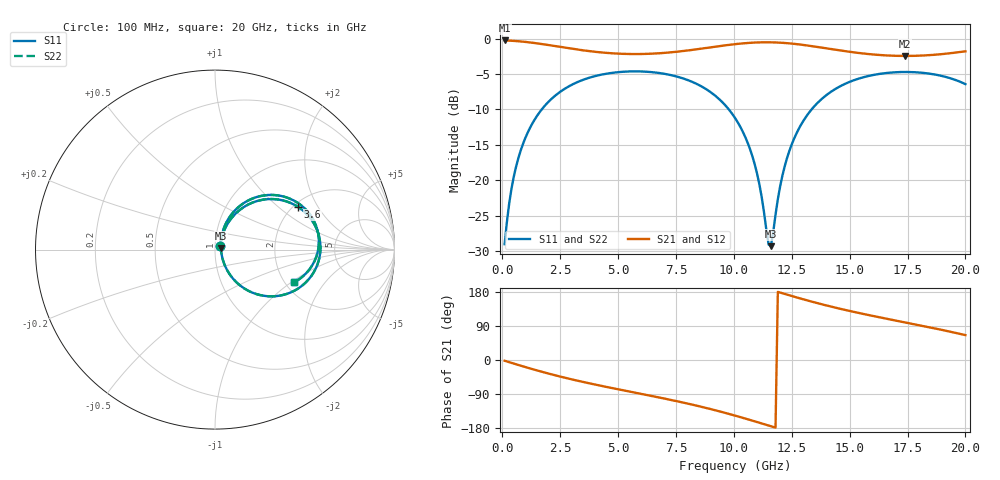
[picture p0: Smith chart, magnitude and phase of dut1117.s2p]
! Touchstone file exported from HFSS 2026.1.0
!  File:  C:/ffzhzh/LocalFiles/Ansys_Project_Files/temp_train_TSV_RDL_1117_1783305646_5512.aedt
!  Generated:  10:53:54 AM Jul  6, 2026
!  Design:  TSV_RDL
!  Project:  temp_train_TSV_RDL_1117_1783305646_5512
! Variables:
!  h_bsmrdl = 5.72um
!  h_ox = 20um
!  h_rdl = 5um
!  h_sub = 93.04um
!  h_tmrdl = 4.31um
!  h_tsv = 93.04um
!  h_via = 3um
!  l_bsmrdl = 485.44um
!  l_sub = 4877.26um
!  l_tmrdl = 736.11um
!  m_sub = 200um
!  pitch = 43.25um
!  r_tsv = 8.34um
!  s_tmrdl = 10um
!  w_bsmrdl = 14.06um
!  w_sub = 500um
!  w_tmrdl = 11.44um
!  x_tsv_center1 = 741.83um
!  x_tsv_center2 = 1241.33um
!  x_tsv_center3 = 1988.88um
!  x_tsv_center4 = 2488.38um
!  x_tsv_center5 = 3235.93um
!  x_tsv_center6 = 3735.43um
# GHz S MA R 50.000000
! Terminal data exported
! Port[1] = TM_RDL1_1_T1
! Port[2] = TM_RDL5_1_T1
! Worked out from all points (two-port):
!   200 points, 100 MHz to 20 GHz, reference 50 ohm
!   highest |S21| = -0.25 dB at 100 MHz (marker M1); lowest = -2.4 dB at 17.4 GHz (marker M2)
!   |S21| within 3 dB of the highest: start of sweep to end of sweep
!   lowest |S11| = -29.3 dB at 11.6 GHz (marker M3), VSWR 1.07, Z = 53.4 + j1.05 ohm
!   |S11| at or under -10 dB: start of sweep to 1.703 GHz; 9.784 GHz to 13.36 GHz (3.574 GHz wide, 30.9 % of centre)
!   |S22| runs from -29.3 to -4.6 dB; largest |S21 - S12| = 1.7e-14
!   S11 on the Smith chart (normalised r, x): 100 MHz: 1.06, +0.04; 3.6 GHz: 2.11, +1.38; 20 GHz: 2.24, -1.05
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0.1  0.03536 34.8  0.9715 -1.9  0.9715 -1.9  0.03536 34.8
! Gamma 0 0 0 0
! Port Impedance 50 0 50 0
0.3  0.06898 59.0  0.9687 -5.8  0.9687 -5.8  0.06898 59.0
0.5  0.1067 64.0  0.9645 -9.5  0.9645 -9.5  0.1067 64.0
1.1  0.2175 61.1  0.9448 -20.5  0.9448 -20.5  0.2175 61.1
2.1  0.3724 47.6  0.896 -37.5  0.896 -37.5  0.3724 47.6
3.5  0.5129 28.6  0.8268 -58.1  0.8268 -58.1  0.5129 28.6
3.6  0.5198 27.3  0.8227 -59.4  0.8227 -59.4  0.5198 27.3
5.2  0.5836 8.0  0.7815 -79.7  0.7815 -79.7  0.5836 8.0
6.8  0.5715 -10.5  0.7892 -99.2  0.7892 -99.2  0.5715 -10.5
8.7  0.4506 -34.3  0.8547 -125.0  0.8547 -125.0  0.4507 -34.4
10.1  0.2676 -53.2  0.9165 -147.6  0.9165 -147.6  0.2676 -53.3
10.9  0.1299 -59.3  0.9388 -161.8  0.9388 -161.8  0.1299 -59.4
11.2  0.07657 -53.7  0.9424 -167.3  0.9424 -167.3  0.07655 -53.8
11.5  0.03517 -13.7  0.9429 -172.9  0.9429 -172.9  0.03513 -13.7
11.6  0.03422 16.7  0.9424 -174.7  0.9424 -174.7  0.03418 16.7
12  0.09067 64.7  0.9369 177.9  0.9369 177.9  0.09066 64.7
12.3  0.144 67.6  0.9295 172.4  0.9295 172.4  0.144 67.6
13.4  0.3224 56.7  0.8844 153.4  0.8844 153.4  0.3224 56.7
14.8  0.4794 38.3  0.8163 132.2  0.8163 132.2  0.4795 38.3
16.7  0.5746 15.8  0.7599 107.6  0.7599 107.6  0.5747 15.7
17.4  0.5818 7.9  0.7551 99.1  0.7551 99.1  0.5818 7.9
20  0.4775 -22.3  0.8142 65.6  0.8142 65.6  0.4775 -22.4
